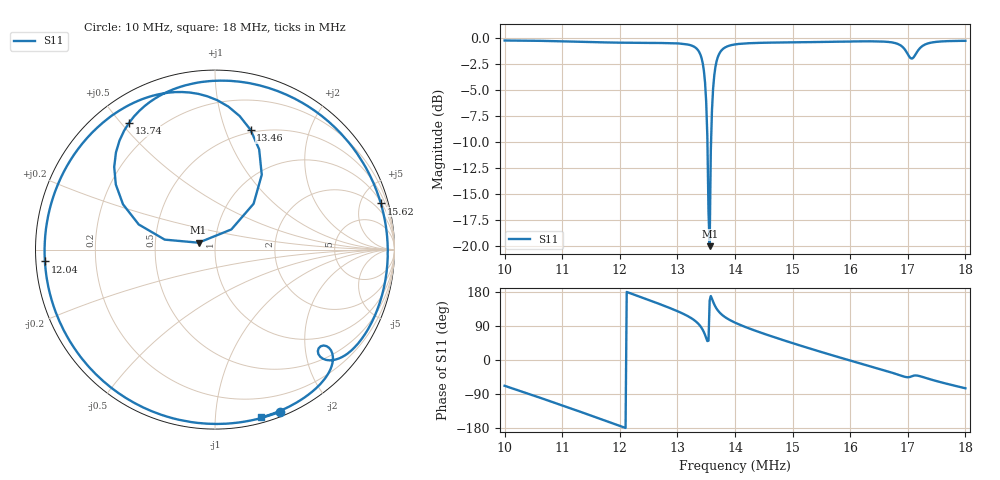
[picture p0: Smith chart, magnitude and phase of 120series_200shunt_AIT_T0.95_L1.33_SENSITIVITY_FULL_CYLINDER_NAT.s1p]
! NanoVNA Web complex sweep
! Processing: original sample grid, no browser smoothing
# Hz S RI R 50
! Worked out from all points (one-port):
!   401 points, 10 MHz to 18 MHz, reference 50 ohm
!   lowest |S11| = -20.0 dB at 13.56 MHz (marker M1), VSWR 1.22, Z = 41.5 + j3.22 ohm
!   |S11| at or under -10 dB: 13.5213 MHz to 13.58453 MHz (63.23 kHz wide, 0.467 % of centre)
!   S11 on the Smith chart (normalised r, x): 10 MHz: 0.04, -1.48; 12.04 MHz: 0.03, -0.03; 13.46 MHz: 0.47, +1.23; 13.74 MHz: 0.10, +0.53; 15.62 MHz: 1.11, +7.15; 18 MHz: 0.04, -1.31
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1e7  0.3638 -0.903
1.05e7  -0.061 -0.9687
1.1e7  -0.4798 -0.8367
1.152e7  -0.8084 -0.5111
1.2e7  -0.9449 -0.1021
1.204e7  -0.9477 -0.0657
1.254e7  -0.8675 0.3815
1.3e7  -0.5917 0.7338
1.334e7  -0.1403 0.8752
1.34e7  0.0139 0.8317
1.346e7  0.1983 0.6669
1.35e7  0.2605 0.417
1.352e7  0.215 0.2554
1.356e7  -0.0918 0.0385
1.36e7  -0.4251 0.1401
1.364e7  -0.5526 0.3628
1.374e7  -0.4787 0.7065
1.4e7  -0.14 0.9214
1.444e7  0.2835 0.9052
1.5e7  0.6803 0.6685
1.562e7  0.924 0.2575
1.6e7  0.9619 -0.0217
1.658e7  0.8587 -0.433
1.686e7  0.7088 -0.598
1.7e7  0.5861 -0.5969
1.712e7  0.6217 -0.5379
1.728e7  0.6442 -0.6645
1.8e7  0.2574 -0.9351
